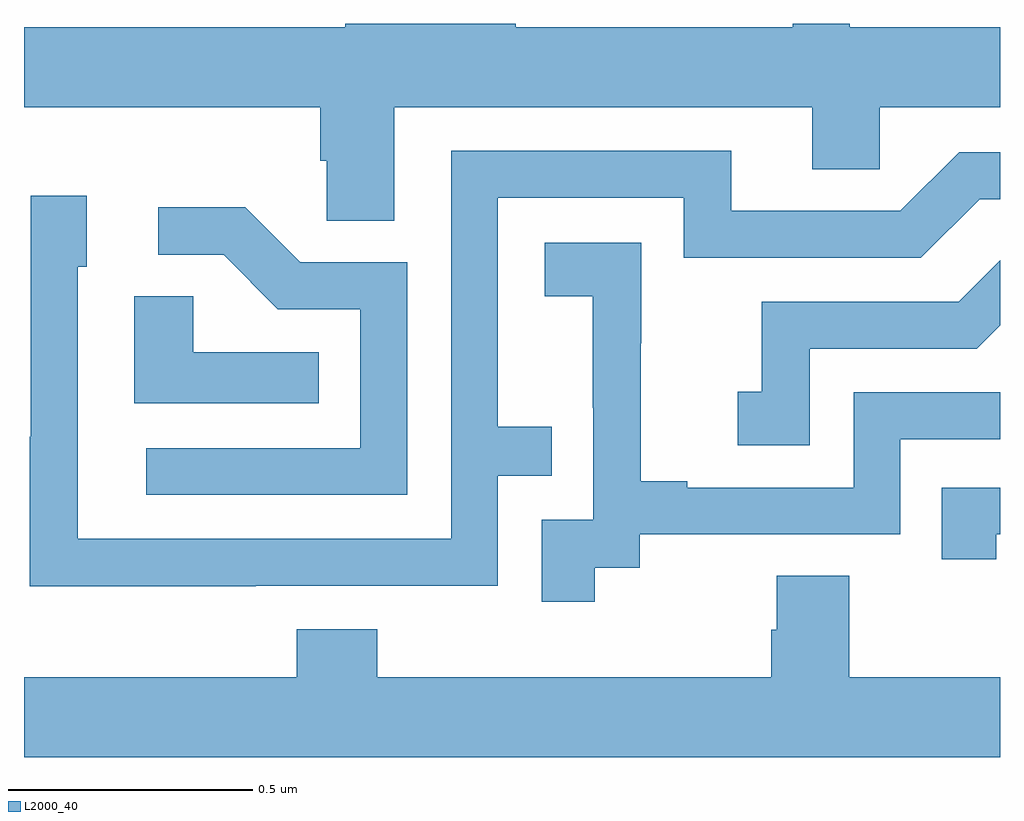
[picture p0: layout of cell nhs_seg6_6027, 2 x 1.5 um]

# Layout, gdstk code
import gdstk
lib = gdstk.Library(unit=1e-6, precision=1e-09)
def P(c, l, *ps):  # polygons
    for p in ps: c.add(gdstk.Polygon(p, *l))
L2000_40 = (2000, 40)

nhs_seg6_6027 = lib.new_cell('nhs_seg6_6027')
P(nhs_seg6_6027, L2000_40, [(190.759,955.328),(191.615,955.328),(191.615,955.201),(191.754,955.201),(191.754,955.328),(192,955.328),(192,955.492),(191.692,955.492),(191.692,955.5),(191.575,955.5),(191.575,955.492),(191.008,955.492),(191.008,955.5),(190.658,955.5),(190.658,955.492),(190,955.492),(190,955.328),(190.607,955.328),(190.607,955.219),(190.62,955.219),(190.62,955.096),(190.759,955.096)],
  [(190.475,954.348),(190.971,954.348),(190.971,954.573),(191.081,954.573),(191.081,954.674),(190.971,954.674),(190.971,955.143),(191.352,955.143),(191.352,955.02),(191.838,955.02),(191.958,955.14),(192,955.14),(192,955.236),(191.916,955.236),(191.796,955.116),(191.449,955.116),(191.449,955.239),(190.875,955.239),(190.875,954.444),(190.11,954.444),(190.11,955.002),(190.129,955.002),(190.129,955.147),(190.014,955.147),(190.014,954.653),(190.012,954.653),(190.012,954.347),(190.475,954.347)],
  [(190.785,955.011),(190.566,955.011),(190.453,955.124),(190.275,955.124),(190.275,955.026),(190.409,955.026),(190.52,954.915),(190.689,954.915),(190.689,954.63),(190.251,954.63),(190.251,954.534),(190.785,954.534)],
  [(191.17,954.385),(191.262,954.385),(191.262,954.453),(191.796,954.453),(191.796,954.648),(192,954.648),(192,954.744),(191.7,954.744),(191.7,954.549),(191.359,954.549),(191.359,954.562),(191.264,954.562),(191.264,954.845),(191.265,954.845),(191.265,955.051),(191.067,955.051),(191.067,954.941),(191.165,954.941),(191.165,954.713),(191.166,954.713),(191.166,954.483),(191.061,954.483),(191.061,954.315),(191.17,954.315)],
  [(191.61,954.834),(191.952,954.834),(192,954.882),(192,955.015),(191.915,954.93),(191.512,954.93),(191.512,954.745),(191.463,954.745),(191.463,954.636),(191.61,954.636)],
  [(190.604,954.826),(190.347,954.826),(190.347,954.941),(190.226,954.941),(190.226,954.722),(190.604,954.722)],
  [(191.992,954.453),(192,954.453),(192,954.549),(191.881,954.549),(191.881,954.402),(191.992,954.402)],
  [(192,954.16),(191.691,954.16),(191.691,954.368),(191.543,954.368),(191.543,954.258),(191.531,954.258),(191.531,954.16),(190.724,954.16),(190.724,954.259),(190.559,954.259),(190.559,954.16),(190,954.16),(190,953.996),(192,953.996)])

lib.write_gds('nhs_seg6_6027.gds')
